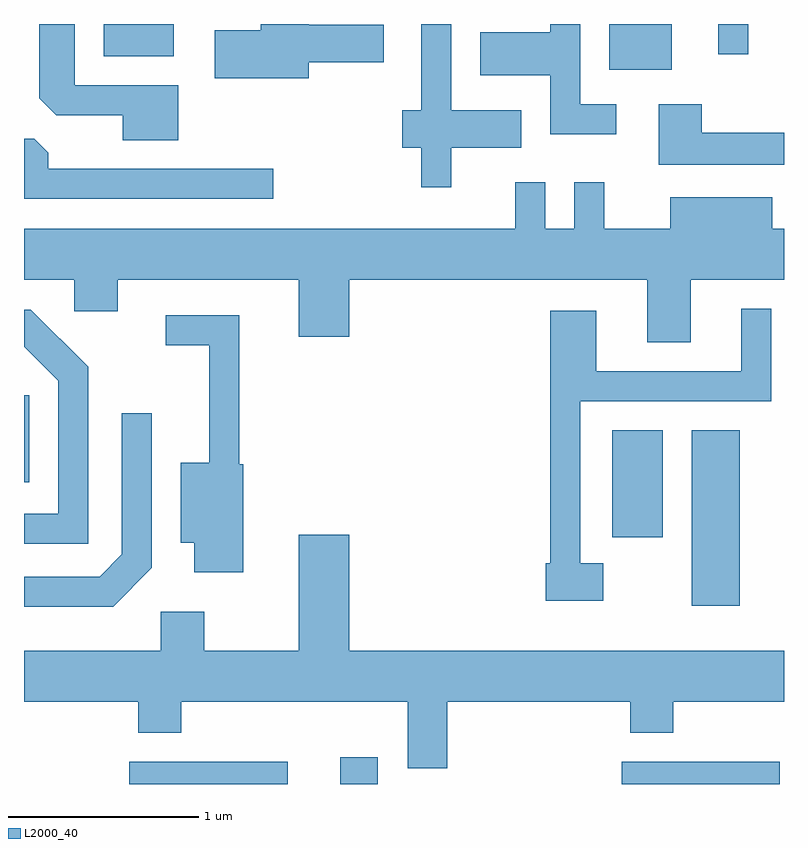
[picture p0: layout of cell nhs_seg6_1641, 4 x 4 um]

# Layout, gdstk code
import gdstk
lib = gdstk.Library(unit=1e-6, precision=1e-09)
def R(c, l, rs):  # rectangles x0, y0, x1, y1
    for r in rs: c.add(gdstk.rectangle(r[:2], r[2:], *l))
def P(c, l, *ps):  # polygons
    for p in ps: c.add(gdstk.Polygon(p, *l))
L2000_40 = (2000, 40)

nhs_seg6_1641 = lib.new_cell('nhs_seg6_1641')
R(nhs_seg6_1641, L2000_40, [(234.166,1656.162,234.998,1656.279), (235.276,1656.162,235.474,1656.304), (236.756,1656.162,237.588,1656.279), (237.126,1657.101,237.379,1658.024), (236.706,1657.461,236.974,1658.024), (233.611,1657.751,233.639,1658.209), (236.691,1659.921,237.019,1660.162), (234.031,1659.991,234.399,1660.162), (237.266,1660.003,237.424,1660.162)])
P(nhs_seg6_1641, L2000_40, [(235.109,1659.961),(235.504,1659.961),(235.504,1660.159),(235.109,1660.159),(235.109,1660.162),(234.856,1660.162),(234.856,1660.129),(234.616,1660.129),(234.616,1659.876),(235.109,1659.876)],
  [(235.859,1659.511),(236.229,1659.511),(236.229,1659.709),(235.859,1659.709),(235.859,1660.162),(235.701,1660.162),(235.701,1659.709),(235.601,1659.709),(235.601,1659.511),(235.701,1659.511),(235.701,1659.303),(235.859,1659.303)],
  [(234.424,1659.839),(233.879,1659.839),(233.879,1660.162),(233.691,1660.162),(233.691,1659.772),(233.782,1659.681),(234.131,1659.681),(234.131,1659.551),(234.424,1659.551)],
  [(236.728,1659.739),(236.539,1659.739),(236.539,1660.162),(236.381,1660.162),(236.381,1660.119),(236.011,1660.119),(236.011,1659.891),(236.381,1659.891),(236.381,1659.581),(236.728,1659.581)],
  [(237.611,1659.589),(237.179,1659.589),(237.179,1659.739),(236.951,1659.739),(236.951,1659.421),(237.611,1659.421)],
  [(234.923,1659.399),(233.739,1659.399),(233.739,1659.484),(233.664,1659.559),(233.611,1659.559),(233.611,1659.241),(234.923,1659.241)],
  [(237.119,1658.816),(237.611,1658.816),(237.611,1659.084),(237.549,1659.084),(237.549,1659.249),(237.011,1659.249),(237.011,1659.084),(236.664,1659.084),(236.664,1659.328),(236.506,1659.328),(236.506,1659.084),(236.354,1659.084),(236.354,1659.328),(236.196,1659.328),(236.196,1659.084),(233.611,1659.084),(233.611,1658.816),(233.876,1658.816),(233.876,1658.651),(234.104,1658.651),(234.104,1658.816),(235.056,1658.816),(235.056,1658.516),(235.324,1658.516),(235.324,1658.816),(236.891,1658.816),(236.891,1658.486),(237.119,1658.486)],
  [(236.659,1657.324),(236.539,1657.324),(236.539,1658.176),(237.544,1658.176),(237.544,1658.663),(237.386,1658.663),(237.386,1658.334),(236.624,1658.334),(236.624,1658.654),(236.381,1658.654),(236.381,1657.324),(236.356,1657.324),(236.356,1657.126),(236.659,1657.126)],
  [(233.949,1658.357),(233.647,1658.659),(233.611,1658.659),(233.611,1658.464),(233.791,1658.284),(233.791,1657.584),(233.611,1657.584),(233.611,1657.426),(233.949,1657.426)],
  [(234.764,1657.844),(234.744,1657.844),(234.744,1658.629),(234.358,1658.629),(234.358,1658.471),(234.586,1658.471),(234.586,1657.854),(234.436,1657.854),(234.436,1657.431),(234.506,1657.431),(234.506,1657.276),(234.764,1657.276)],
  [(234.284,1657.299),(234.284,1658.113),(234.126,1658.113),(234.126,1657.372),(234.009,1657.254),(233.611,1657.254),(233.611,1657.096),(234.082,1657.096)],
  [(234.331,1657.069),(234.331,1656.864),(233.611,1656.864),(233.611,1656.596),(234.211,1656.596),(234.211,1656.431),(234.439,1656.431),(234.439,1656.596),(235.631,1656.596),(235.631,1656.246),(235.839,1656.246),(235.839,1656.596),(236.801,1656.596),(236.801,1656.431),(237.029,1656.431),(237.029,1656.596),(237.611,1656.596),(237.611,1656.864),(235.324,1656.864),(235.324,1657.474),(235.056,1657.474),(235.056,1656.864),(234.559,1656.864),(234.559,1657.069)])

lib.write_gds('nhs_seg6_1641.gds')
